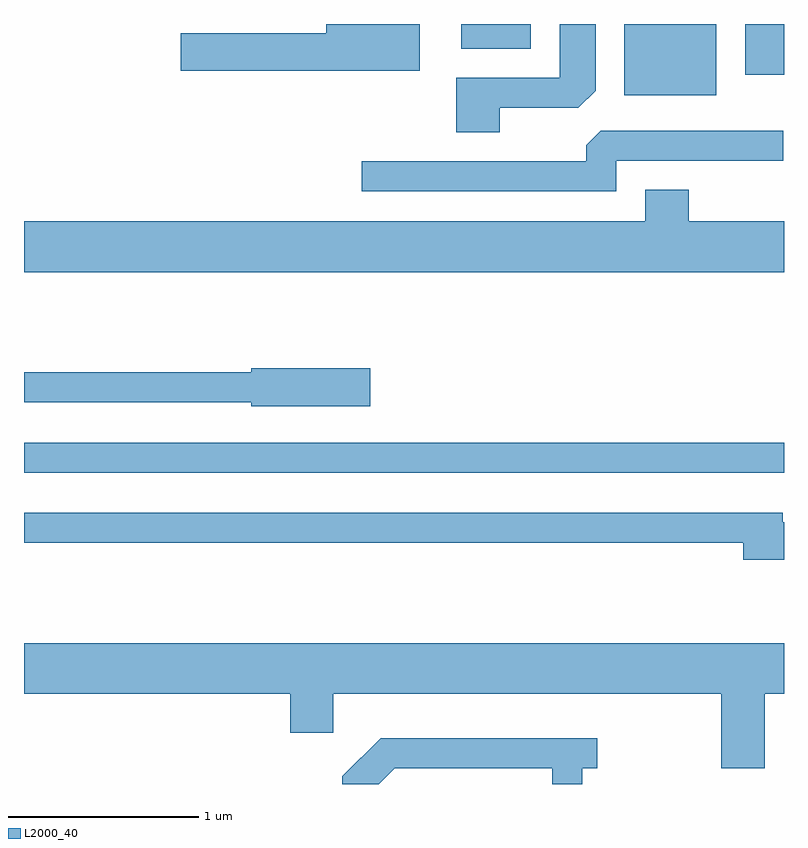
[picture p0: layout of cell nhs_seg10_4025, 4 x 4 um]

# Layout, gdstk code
import gdstk
lib = gdstk.Library(unit=1e-6, precision=1e-09)
def R(c, l, rs):  # rectangles x0, y0, x1, y1
    for r in rs: c.add(gdstk.rectangle(r[:2], r[2:], *l))
def P(c, l, *ps):  # polygons
    for p in ps: c.add(gdstk.Polygon(p, *l))
L2000_40 = (2000, 40)

nhs_seg10_4025 = lib.new_cell('nhs_seg10_4025')
R(nhs_seg10_4025, L2000_40, [(303.611,2146.161,307.611,2146.319), (306.771,2148.146,307.254,2148.522), (307.406,2148.256,307.611,2148.522), (305.911,2148.391,306.279,2148.522)])
P(nhs_seg10_4025, L2000_40, [(305.694,2148.522),(305.201,2148.522),(305.201,2148.474),(304.436,2148.474),(304.436,2148.276),(305.694,2148.276)],
  [(306.114,2148.081),(306.529,2148.081),(306.619,2148.172),(306.619,2148.522),(306.431,2148.522),(306.431,2148.239),(305.886,2148.239),(305.886,2147.951),(306.114,2147.951)],
  [(306.729,2147.801),(307.608,2147.801),(307.608,2147.959),(306.647,2147.959),(306.571,2147.884),(306.571,2147.799),(305.388,2147.799),(305.388,2147.641),(306.729,2147.641)],
  [(307.611,2147.484),(307.109,2147.484),(307.109,2147.649),(306.881,2147.649),(306.881,2147.484),(303.611,2147.484),(303.611,2147.216),(307.611,2147.216)],
  [(305.434,2146.709),(304.806,2146.709),(304.806,2146.689),(303.611,2146.689),(303.611,2146.531),(304.806,2146.531),(304.806,2146.511),(305.434,2146.511)],
  [(307.611,2145.899),(307.604,2145.899),(307.604,2145.949),(303.611,2145.949),(303.611,2145.791),(307.396,2145.791),(307.396,2145.701),(307.611,2145.701)],
  [(307.509,2144.996),(307.611,2144.996),(307.611,2145.264),(303.611,2145.264),(303.611,2144.996),(305.011,2144.996),(305.011,2144.791),(305.239,2144.791),(305.239,2144.996),(307.281,2144.996),(307.281,2144.606),(307.509,2144.606)],
  [(305.562,2144.606),(306.391,2144.606),(306.391,2144.522),(306.549,2144.522),(306.549,2144.606),(306.628,2144.606),(306.628,2144.764),(305.489,2144.764),(305.286,2144.562),(305.286,2144.522),(305.477,2144.522)])

lib.write_gds('nhs_seg10_4025.gds')
